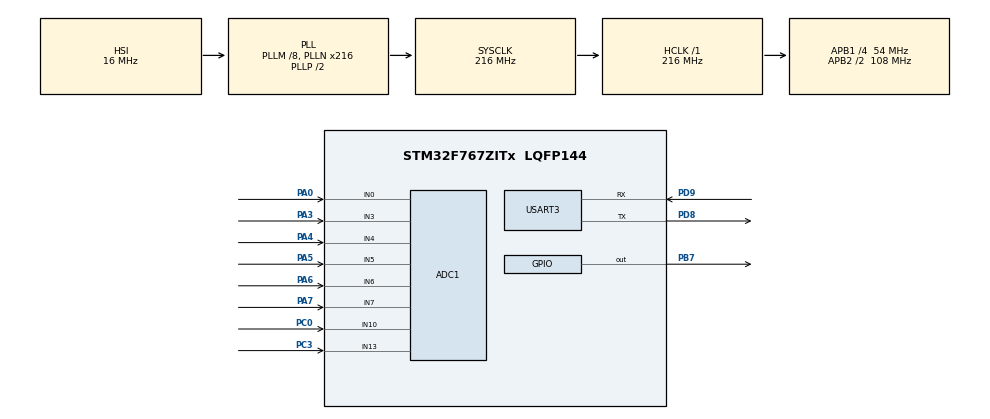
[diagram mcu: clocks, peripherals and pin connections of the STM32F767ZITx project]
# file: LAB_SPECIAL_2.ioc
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ADC1.Channel-0\#ChannelRegularConversion=ADC_CHANNEL_3
ADC1.Channel-1\#ChannelRegularConversion=ADC_CHANNEL_10
ADC1.Channel-2\#ChannelRegularConversion=ADC_CHANNEL_13
ADC1.Channel-3\#ChannelRegularConversion=ADC_CHANNEL_0
ADC1.Channel-4\#ChannelRegularConversion=ADC_CHANNEL_5
ADC1.Channel-5\#ChannelRegularConversion=ADC_CHANNEL_6
ADC1.Channel-6\#ChannelRegularConversion=ADC_CHANNEL_7
ADC1.Channel-7\#ChannelRegularConversion=ADC_CHANNEL_4
ADC1.ClockPrescaler=ADC_CLOCK_SYNC_PCLK_DIV8
ADC1.ContinuousConvMode=ENABLE
ADC1.DMAContinuousRequests=ENABLE
ADC1.NbrOfConversion=8
ADC1.NbrOfConversionFlag=1
ADC1.Rank-0\#ChannelRegularConversion=1
ADC1.Rank-1\#ChannelRegularConversion=2
ADC1.Rank-2\#ChannelRegularConversion=3
ADC1.Rank-3\#ChannelRegularConversion=4
ADC1.Rank-4\#ChannelRegularConversion=5
ADC1.Rank-5\#ChannelRegularConversion=6
ADC1.Rank-6\#ChannelRegularConversion=7
ADC1.Rank-7\#ChannelRegularConversion=8
ADC1.SamplingTime-0\#ChannelRegularConversion=ADC_SAMPLETIME_15CYCLES
ADC1.SamplingTime-1\#ChannelRegularConversion=ADC_SAMPLETIME_15CYCLES
ADC1.SamplingTime-2\#ChannelRegularConversion=ADC_SAMPLETIME_15CYCLES
ADC1.SamplingTime-3\#ChannelRegularConversion=ADC_SAMPLETIME_15CYCLES
ADC1.SamplingTime-4\#ChannelRegularConversion=ADC_SAMPLETIME_15CYCLES
ADC1.SamplingTime-5\#ChannelRegularConversion=ADC_SAMPLETIME_15CYCLES
ADC1.SamplingTime-6\#ChannelRegularConversion=ADC_SAMPLETIME_15CYCLES
ADC1.SamplingTime-7\#ChannelRegularConversion=ADC_SAMPLETIME_15CYCLES
ADC1.ScanConvMode=ADC_SCAN_ENABLE
ADC1.master=1
CORTEX_M7.default_mode_Activation=1
Dma.ADC1.0.Direction=DMA_PERIPH_TO_MEMORY
Dma.ADC1.0.FIFOMode=DMA_FIFOMODE_DISABLE
Dma.ADC1.0.Instance=DMA2_Stream0
Dma.ADC1.0.MemDataAlignment=DMA_MDATAALIGN_WORD
Dma.ADC1.0.MemInc=DMA_MINC_ENABLE
Dma.ADC1.0.Mode=DMA_CIRCULAR
Dma.ADC1.0.PeriphDataAlignment=DMA_PDATAALIGN_WORD
Dma.ADC1.0.PeriphInc=DMA_PINC_DISABLE
Dma.ADC1.0.Priority=DMA_PRIORITY_LOW
Dma.Request0=ADC1
Mcu.Family=STM32F7
Mcu.Name=STM32F767ZITx
Mcu.Package=LQFP144
NVIC.DMA2_Stream0_IRQn=true\:1\:0\:true\:false\:true\:false\:true\:true
NVIC.PriorityGroup=NVIC_PRIORITYGROUP_2
PA0/WKUP.Signal=ADCx_IN0
PA3.Signal=ADCx_IN3
PA4.Signal=ADCx_IN4
PA5.Signal=ADCx_IN5
PA6.Signal=ADCx_IN6
PA7.Signal=ADCx_IN7
PB7.Signal=GPIO_Output
PC0.Signal=ADCx_IN10
PC3.Signal=ADCx_IN13
PD8.Mode=Asynchronous
PD8.Signal=USART3_TX
PD9.Mode=Asynchronous
PD9.Signal=USART3_RX
ProjectManager.HeapSize=0x200
ProjectManager.StackSize=0x400
ProjectManager.TargetToolchain=STM32CubeIDE
RCC.AHBFreq_Value=216000000
RCC.APB1CLKDivider=RCC_HCLK_DIV4
RCC.APB1Freq_Value=54000000
RCC.APB1TimFreq_Value=108000000
RCC.APB2CLKDivider=RCC_HCLK_DIV2
RCC.APB2Freq_Value=108000000
RCC.APB2TimFreq_Value=216000000
RCC.CortexFreq_Value=216000000
RCC.HCLKFreq_Value=216000000
RCC.HSE_VALUE=25000000
RCC.HSI_VALUE=16000000
RCC.LSE_VALUE=32768
RCC.PLLM=8
RCC.PLLN=216
RCC.SYSCLKFreq_VALUE=216000000
RCC.SYSCLKSource=RCC_SYSCLKSOURCE_PLLCLK
RCC.USBFreq_Value=216000000
RCC.VCOOutputFreq_Value=432000000
SH.ADCx_IN0.0=ADC1_IN0,IN0
SH.ADCx_IN10.0=ADC1_IN10,IN10
SH.ADCx_IN13.0=ADC1_IN13,IN13
SH.ADCx_IN3.0=ADC1_IN3,IN3
SH.ADCx_IN4.0=ADC1_IN4,IN4
SH.ADCx_IN5.0=ADC1_IN5,IN5
SH.ADCx_IN6.0=ADC1_IN6,IN6
SH.ADCx_IN7.0=ADC1_IN7,IN7
USART3.VirtualMode-Asynchronous=VM_ASYNC
board=custom

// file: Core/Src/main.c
/* USER CODE BEGIN Header */
/**
  ******************************************************************************
  * @file           : main.c
  * @brief          : Main program body
  ******************************************************************************
  * @attention
  *
  * Copyright (c) 2026 STMicroelectronics.
  * All rights reserved.
  *
  * This software is licensed under terms that can be found in the LICENSE file
  * in the root directory of this software component.
  * If no LICENSE file comes with this software, it is provided AS-IS.
  *
  ******************************************************************************
  */
/* USER CODE END Header */
#include "main.h"

/* USER CODE BEGIN Includes */
#include "string.h"
#include "stdio.h"
#include "inttypes.h"
#include "math.h"
/* USER CODE END Includes */

ADC_HandleTypeDef hadc1;
DMA_HandleTypeDef hdma_adc1;

UART_HandleTypeDef huart3;

/* USER CODE BEGIN PV */
uint32_t adc_val[8];
float volt_val[8];
char msg[50];
char msg2[50];
/* USER CODE END PV */

void SystemClock_Config(void);
static void MPU_Config(void);
static void MX_GPIO_Init(void);
static void MX_DMA_Init(void);
static void MX_ADC1_Init(void);
static void MX_USART3_UART_Init(void);
/* USER CODE BEGIN PFP */
float volt_mapping(uint32_t);
/* USER CODE END PFP */

int main(void)
{

  /* MPU Configuration--------------------------------------------------------*/
  MPU_Config();

  /* MCU Configuration--------------------------------------------------------*/

  /* Reset of all peripherals, Initializes the Flash interface and the Systick. */
  HAL_Init();

  /* Configure the system clock */
  SystemClock_Config();

  /* Initialize all configured peripherals */
  MX_GPIO_Init();
  MX_DMA_Init();
  MX_ADC1_Init();
  MX_USART3_UART_Init();
  /* USER CODE BEGIN 2 */
  HAL_ADC_Start_DMA(&hadc1, adc_val, 8);
  /* USER CODE END 2 */

  /* Infinite loop */
  while (1)
  {

  }
}

void SystemClock_Config(void)
{
  RCC_OscInitTypeDef RCC_OscInitStruct = {0};
  RCC_ClkInitTypeDef RCC_ClkInitStruct = {0};

  /** Configure the main internal regulator output voltage
  */
  __HAL_RCC_PWR_CLK_ENABLE();
  __HAL_PWR_VOLTAGESCALING_CONFIG(PWR_REGULATOR_VOLTAGE_SCALE1);

  /** Initializes the RCC Oscillators according to the specified parameters
  * in the RCC_OscInitTypeDef structure.
  */
  RCC_OscInitStruct.OscillatorType = RCC_OSCILLATORTYPE_HSI;
  RCC_OscInitStruct.HSIState = RCC_HSI_ON;
  RCC_OscInitStruct.HSICalibrationValue = RCC_HSICALIBRATION_DEFAULT;
  RCC_OscInitStruct.PLL.PLLState = RCC_PLL_ON;
  RCC_OscInitStruct.PLL.PLLSource = RCC_PLLSOURCE_HSI;
  RCC_OscInitStruct.PLL.PLLM = 8;
  RCC_OscInitStruct.PLL.PLLN = 216;
  RCC_OscInitStruct.PLL.PLLP = RCC_PLLP_DIV2;
  RCC_OscInitStruct.PLL.PLLQ = 2;
  RCC_OscInitStruct.PLL.PLLR = 2;
  if (HAL_RCC_OscConfig(&RCC_OscInitStruct) != HAL_OK)
  {
    Error_Handler();
  }

  /** Activate the Over-Drive mode
  */
  if (HAL_PWREx_EnableOverDrive() != HAL_OK)
  {
    Error_Handler();
  }

  /** Initializes the CPU, AHB and APB buses clocks
  */
  RCC_ClkInitStruct.ClockType = RCC_CLOCKTYPE_HCLK|RCC_CLOCKTYPE_SYSCLK
                              |RCC_CLOCKTYPE_PCLK1|RCC_CLOCKTYPE_PCLK2;
  RCC_ClkInitStruct.SYSCLKSource = RCC_SYSCLKSOURCE_PLLCLK;
  RCC_ClkInitStruct.AHBCLKDivider = RCC_SYSCLK_DIV1;
  RCC_ClkInitStruct.APB1CLKDivider = RCC_HCLK_DIV4;
  RCC_ClkInitStruct.APB2CLKDivider = RCC_HCLK_DIV2;

  if (HAL_RCC_ClockConfig(&RCC_ClkInitStruct, FLASH_LATENCY_7) != HAL_OK)
  {
    Error_Handler();
  }
}

static void MX_ADC1_Init(void)
{

  ADC_ChannelConfTypeDef sConfig = {0};

  /** Configure the global features of the ADC (Clock, Resolution, Data Alignment and number of conversion)
  */
  hadc1.Instance = ADC1;
  hadc1.Init.ClockPrescaler = ADC_CLOCK_SYNC_PCLK_DIV8;
  hadc1.Init.Resolution = ADC_RESOLUTION_12B;
  hadc1.Init.ScanConvMode = ADC_SCAN_ENABLE;
  hadc1.Init.ContinuousConvMode = ENABLE;
  hadc1.Init.DiscontinuousConvMode = DISABLE;
  hadc1.Init.ExternalTrigConvEdge = ADC_EXTERNALTRIGCONVEDGE_NONE;
  hadc1.Init.ExternalTrigConv = ADC_SOFTWARE_START;
  hadc1.Init.DataAlign = ADC_DATAALIGN_RIGHT;
  hadc1.Init.NbrOfConversion = 8;
  hadc1.Init.DMAContinuousRequests = ENABLE;
  hadc1.Init.EOCSelection = ADC_EOC_SINGLE_CONV;
  if (HAL_ADC_Init(&hadc1) != HAL_OK)
  {
    Error_Handler();
  }

  /** Configure for the selected ADC regular channel its corresponding rank in the sequencer and its sample time.
  */
  sConfig.Channel = ADC_CHANNEL_3;
  sConfig.Rank = ADC_REGULAR_RANK_1;
  sConfig.SamplingTime = ADC_SAMPLETIME_15CYCLES;
  if (HAL_ADC_ConfigChannel(&hadc1, &sConfig) != HAL_OK)
  {
    Error_Handler();
  }

  /** Configure for the selected ADC regular channel its corresponding rank in the sequencer and its sample time.
  */
  sConfig.Channel = ADC_CHANNEL_10;
  sConfig.Rank = ADC_REGULAR_RANK_2;
  if (HAL_ADC_ConfigChannel(&hadc1, &sConfig) != HAL_OK)
  {
    Error_Handler();
  }

  /** Configure for the selected ADC regular channel its corresponding rank in the sequencer and its sample time.
  */
  sConfig.Channel = ADC_CHANNEL_13;
  sConfig.Rank = ADC_REGULAR_RANK_3;
  if (HAL_ADC_ConfigChannel(&hadc1, &sConfig) != HAL_OK)
  {
    Error_Handler();
  }

  /** Configure for the selected ADC regular channel its corresponding rank in the sequencer and its sample time.
  */
  sConfig.Channel = ADC_CHANNEL_0;
  sConfig.Rank = ADC_REGULAR_RANK_4;
  if (HAL_ADC_ConfigChannel(&hadc1, &sConfig) != HAL_OK)
  {
    Error_Handler();
  }

  /** Configure for the selected ADC regular channel its corresponding rank in the sequencer and its sample time.
  */
  sConfig.Channel = ADC_CHANNEL_5;
  sConfig.Rank = ADC_REGULAR_RANK_5;
  if (HAL_ADC_ConfigChannel(&hadc1, &sConfig) != HAL_OK)
  {
    Error_Handler();
  }

  /** Configure for the selected ADC regular channel its corresponding rank in the sequencer and its sample time.
  */
  sConfig.Channel = ADC_CHANNEL_6;
  sConfig.Rank = ADC_REGULAR_RANK_6;
  if (HAL_ADC_ConfigChannel(&hadc1, &sConfig) != HAL_OK)
  {
    Error_Handler();
  }

  /** Configure for the selected ADC regular channel its corresponding rank in the sequencer and its sample time.
  */
  sConfig.Channel = ADC_CHANNEL_7;
  sConfig.Rank = ADC_REGULAR_RANK_7;
  if (HAL_ADC_ConfigChannel(&hadc1, &sConfig) != HAL_OK)
  {
    Error_Handler();
  }

  /** Configure for the selected ADC regular channel its corresponding rank in the sequencer and its sample time.
  */
  sConfig.Channel = ADC_CHANNEL_4;
  sConfig.Rank = ADC_REGULAR_RANK_8;
  if (HAL_ADC_ConfigChannel(&hadc1, &sConfig) != HAL_OK)
  {
    Error_Handler();
  }

}

static void MX_USART3_UART_Init(void)
{

  huart3.Instance = USART3;
  huart3.Init.BaudRate = 115200;
  huart3.Init.WordLength = UART_WORDLENGTH_8B;
  huart3.Init.StopBits = UART_STOPBITS_1;
  huart3.Init.Parity = UART_PARITY_NONE;
  huart3.Init.Mode = UART_MODE_TX_RX;
  huart3.Init.HwFlowCtl = UART_HWCONTROL_NONE;
  huart3.Init.OverSampling = UART_OVERSAMPLING_16;
  huart3.Init.OneBitSampling = UART_ONE_BIT_SAMPLE_DISABLE;
  huart3.AdvancedInit.AdvFeatureInit = UART_ADVFEATURE_NO_INIT;
  if (HAL_UART_Init(&huart3) != HAL_OK)
  {
    Error_Handler();
  }

}

static void MX_DMA_Init(void)
{

  /* DMA controller clock enable */
  __HAL_RCC_DMA2_CLK_ENABLE();

  /* DMA interrupt init */
  /* DMA2_Stream0_IRQn interrupt configuration */
  HAL_NVIC_SetPriority(DMA2_Stream0_IRQn, 1, 0);
  HAL_NVIC_EnableIRQ(DMA2_Stream0_IRQn);

}

static void MX_GPIO_Init(void)
{
  GPIO_InitTypeDef GPIO_InitStruct = {0};

  /* GPIO Ports Clock Enable */
  __HAL_RCC_GPIOC_CLK_ENABLE();
  __HAL_RCC_GPIOA_CLK_ENABLE();
  __HAL_RCC_GPIOD_CLK_ENABLE();
  __HAL_RCC_GPIOB_CLK_ENABLE();

  /*Configure GPIO pin Output Level */
  HAL_GPIO_WritePin(GPIOB, GPIO_PIN_7, GPIO_PIN_RESET);

  /*Configure GPIO pin : PB7 */
  GPIO_InitStruct.Pin = GPIO_PIN_7;
  GPIO_InitStruct.Mode = GPIO_MODE_OUTPUT_PP;
  GPIO_InitStruct.Pull = GPIO_NOPULL;
  GPIO_InitStruct.Speed = GPIO_SPEED_FREQ_LOW;
  HAL_GPIO_Init(GPIOB, &GPIO_InitStruct);

}

/* USER CODE BEGIN 4 */
void HAL_ADC_ConvHalfCpltCallback(ADC_HandleTypeDef* hadc)
{
 	if(hadc->Instance==ADC1)
    {
 		while (__HAL_UART_GET_FLAG(&huart3, UART_FLAG_TC) == 0){}
 		HAL_UART_Transmit(&huart3, (uint8_t*)"\r\n", 2, 1000);

 		for (uint8_t i = 0; i<=3; i++) {
 			volt_val[i] = volt_mapping(adc_val[i]);

 			if (i == 0)
 			{
 				sprintf(msg, "\r\n(Half)ADC1_CH3 0x%08" PRIX32 " Vin = %.2f V\r\n", adc_val[i], volt_val[i]);
 			}
 			else if(i == 1)
 			{
 				sprintf(msg, "(Half)ADC1_CH10 0x%08" PRIX32 " Vin = %.2f V\r\n", adc_val[i], volt_val[i]);
 			}
 			else if(i == 2)
 			{
 				sprintf(msg, "(Half)ADC1_CH13 0x%08" PRIX32 " Vin = %.2f V\r\n", adc_val[i], volt_val[i]);
 			} else {
 				sprintf(msg, "(Half)ADC1_CH0 0x%08" PRIX32 " Vin = %.2f V\r\n", adc_val[i], volt_val[i]);
 			}

 			HAL_UART_Transmit(&huart3, (uint8_t*)msg, strlen(msg), 1000);
 		}

 		for (uint8_t i = 4; i < 8; i++) {
 			volt_val[i] = volt_mapping(adc_val[i]);

 			if (i == 4)
 			{
 				sprintf(msg, "\r\n(Half)ADC1_CH5 0x%08" PRIX32 " Vin = %.2f V\r\n", adc_val[i], volt_val[i]);
 			}
 			else if(i == 5)
 			{
 				sprintf(msg, "(Half)ADC1_CH6 0x%08" PRIX32 " Vin = %.2f V\r\n", adc_val[i], volt_val[i]);
 			}
 			else if(i == 6)
 			{
 				sprintf(msg, "(Half)ADC1_CH7 0x%08" PRIX32 " Vin = %.2f V\r\n", adc_val[i], volt_val[i]);
 			} else {
 				sprintf(msg, "(Half)ADC1_CH4 0x%08" PRIX32 " Vin = %.2f V\r\n", adc_val[i], volt_val[i]);
 			}

 		 	HAL_UART_Transmit(&huart3, (uint8_t*)msg, strlen(msg), 1000);
 		}

  	  	HAL_GPIO_WritePin(GPIOB, GPIO_PIN_7, 1);

  	  	HAL_Delay(400);
    }
}

void HAL_ADC_ConvCpltCallback(ADC_HandleTypeDef* hadc)
{
 	if(hadc->Instance==ADC1)
    {
 		while (__HAL_UART_GET_FLAG(&huart3, UART_FLAG_TC) == 0){}
 		HAL_UART_Transmit(&huart3, (uint8_t*)"\r\n", 2, 1000);

 		for (uint8_t i = 0; i<=3; i++) {
 			volt_val[i] = volt_mapping(adc_val[i]);

			if (i == 0)
			{
				sprintf(msg, "\r\nADC1_CH3 0x%08" PRIX32 " Vin = %.2f V\r\n", adc_val[i], volt_val[i]);
			}
			else if(i == 1)
			{
				sprintf(msg, "ADC1_CH10 0x%08" PRIX32 " Vin = %.2f V\r\n", adc_val[i], volt_val[i]);
			}
			else if(i == 2)
			{
				sprintf(msg, "ADC1_CH13 0x%08" PRIX32 " Vin = %.2f V\r\n", adc_val[i], volt_val[i]);
			} else {
				sprintf(msg, "ADC1_CH0 0x%08" PRIX32 " Vin = %.2f V\r\n", adc_val[i], volt_val[i]);
			}

			HAL_UART_Transmit(&huart3, (uint8_t*)msg, strlen(msg), 1000);
 		}

 		for (uint8_t i = 4; i < 8; i++) {
 		 	volt_val[i] = volt_mapping(adc_val[i]);

 		 	if (i == 4)
 		 	{
 		 		sprintf(msg, "\r\nADC1_CH5 0x%08" PRIX32 " Vin = %.2f V\r\n", adc_val[i], volt_val[i]);
 		 	}
 		 	else if(i == 5)
 		 	{
 		 		sprintf(msg, "ADC1_CH6 0x%08" PRIX32 " Vin = %.2f V\r\n", adc_val[i], volt_val[i]);
 		 	}
 		 	else if(i == 6)
 		 	{
 		 		sprintf(msg, "ADC1_CH7 0x%08" PRIX32 " Vin = %.2f V\r\n", adc_val[i], volt_val[i]);
 		 	} else {
 		 		sprintf(msg, "ADC1_CH4 0x%08" PRIX32 " Vin = %.2f V\r\n", adc_val[i], volt_val[i]);
 		 	}

 		 	HAL_UART_Transmit(&huart3, (uint8_t*)msg, strlen(msg), 1000);
 		 }

  	  	HAL_GPIO_WritePin(GPIOB, GPIO_PIN_7, 0);

  	  	HAL_Delay(400);
  	  	HAL_ADC_Start_DMA(hadc, adc_val, 2);
    }
}

float volt_mapping(uint32_t input){
	return (input / (pow(2, 12) - 1)) * 3.3;
}
/* USER CODE END 4 */

 /* MPU Configuration */

void MPU_Config(void)
{
  MPU_Region_InitTypeDef MPU_InitStruct = {0};

  /* Disables the MPU */
  HAL_MPU_Disable();

  /** Initializes and configures the Region and the memory to be protected
  */
  MPU_InitStruct.Enable = MPU_REGION_ENABLE;
  MPU_InitStruct.Number = MPU_REGION_NUMBER0;
  MPU_InitStruct.BaseAddress = 0x0;
  MPU_InitStruct.Size = MPU_REGION_SIZE_4GB;
  MPU_InitStruct.SubRegionDisable = 0x87;
  MPU_InitStruct.TypeExtField = MPU_TEX_LEVEL0;
  MPU_InitStruct.AccessPermission = MPU_REGION_NO_ACCESS;
  MPU_InitStruct.DisableExec = MPU_INSTRUCTION_ACCESS_DISABLE;
  MPU_InitStruct.IsShareable = MPU_ACCESS_SHAREABLE;
  MPU_InitStruct.IsCacheable = MPU_ACCESS_NOT_CACHEABLE;
  MPU_InitStruct.IsBufferable = MPU_ACCESS_NOT_BUFFERABLE;

  HAL_MPU_ConfigRegion(&MPU_InitStruct);
  /* Enables the MPU */
  HAL_MPU_Enable(MPU_PRIVILEGED_DEFAULT);

}

void Error_Handler(void)
{
  __disable_irq();
  while (1)
  {
  }
}
